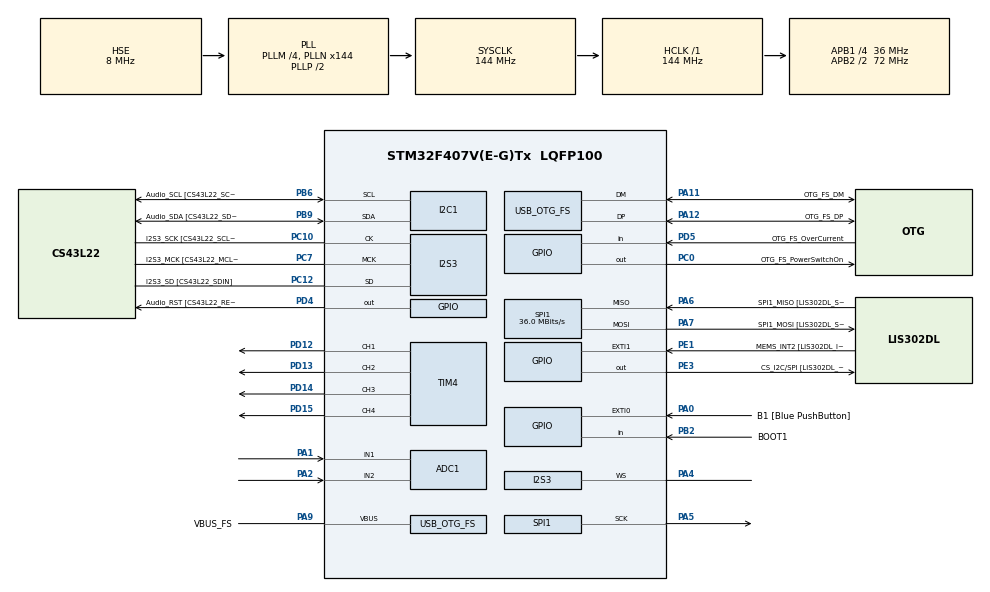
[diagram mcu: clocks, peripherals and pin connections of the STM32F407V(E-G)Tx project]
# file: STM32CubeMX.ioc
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ADC1.Channel-0\#ChannelRegularConversion=ADC_CHANNEL_1
ADC1.Channel-1\#ChannelRegularConversion=ADC_CHANNEL_2
ADC1.ContinuousConvMode=DISABLE
ADC1.NbrOfConversion=2
ADC1.NbrOfConversionFlag=1
ADC1.Rank-0\#ChannelRegularConversion=1
ADC1.Rank-1\#ChannelRegularConversion=2
ADC1.SamplingTime-0\#ChannelRegularConversion=ADC_SAMPLETIME_144CYCLES
ADC1.SamplingTime-1\#ChannelRegularConversion=ADC_SAMPLETIME_84CYCLES
ADC1.ScanConvMode=ENABLE
ADC1.master=1
Dma.Request0=SPI3_TX
Dma.SPI3_TX.0.Direction=DMA_MEMORY_TO_PERIPH
Dma.SPI3_TX.0.FIFOMode=DMA_FIFOMODE_ENABLE
Dma.SPI3_TX.0.FIFOThreshold=DMA_FIFO_THRESHOLD_FULL
Dma.SPI3_TX.0.Instance=DMA1_Stream5
Dma.SPI3_TX.0.MemBurst=DMA_MBURST_SINGLE
Dma.SPI3_TX.0.MemDataAlignment=DMA_MDATAALIGN_HALFWORD
Dma.SPI3_TX.0.MemInc=DMA_MINC_ENABLE
Dma.SPI3_TX.0.Mode=DMA_CIRCULAR
Dma.SPI3_TX.0.PeriphBurst=DMA_PBURST_SINGLE
Dma.SPI3_TX.0.PeriphDataAlignment=DMA_PDATAALIGN_HALFWORD
Dma.SPI3_TX.0.PeriphInc=DMA_PINC_DISABLE
Dma.SPI3_TX.0.Priority=DMA_PRIORITY_LOW
I2S3.AudioFreq=I2S_AUDIOFREQ_48K
I2S3.ErrorAudioFreq=-0.01 %
I2S3.FullDuplexMode=I2S_FULLDUPLEXMODE_DISABLE
I2S3.Instance=SPI$Index
I2S3.RealAudioFreq=47.991 KHz
I2S3.Standard=I2S_STANDARD_PHILIPS
I2S3.VirtualMode=I2S_MODE_MASTER
Mcu.Family=STM32F4
Mcu.Name=STM32F407V(E-G)Tx
Mcu.Package=LQFP100
NVIC.DMA1_Stream5_IRQn=true\:0\:0\:false\:false\:true\:false\:true\:true
NVIC.OTG_FS_IRQn=true\:0\:0\:false\:false\:true\:true\:true\:true
NVIC.PriorityGroup=NVIC_PRIORITYGROUP_0
NVIC.SPI3_IRQn=true\:0\:0\:false\:false\:true\:true\:true\:true
PA0-WKUP.GPIO_Label=B1 [Blue PushButton]
PA0-WKUP.GPIO_ModeDefaultEXTI=GPIO_MODE_EVT_RISING
PA0-WKUP.GPIO_PuPd=GPIO_NOPULL
PA0-WKUP.Signal=GPXTI0
PA1.Signal=ADCx_IN1
PA10.GPIO_Label=OTG_FS_ID
PA10.GPIO_Mode=GPIO_MODE_AF_PP
PA10.GPIO_PuPd=GPIO_NOPULL
PA10.GPIO_Speed=GPIO_SPEED_FREQ_LOW
PA10.Signal=USB_OTG_FS_ID
PA11.GPIO_Label=OTG_FS_DM
PA11.GPIO_Mode=GPIO_MODE_AF_PP
PA11.GPIO_PuPd=GPIO_NOPULL
PA11.GPIO_Speed=GPIO_SPEED_FREQ_LOW
PA11.Mode=Device_Only
PA11.Signal=USB_OTG_FS_DM
PA12.GPIO_Label=OTG_FS_DP
PA12.GPIO_Mode=GPIO_MODE_AF_PP
PA12.GPIO_PuPd=GPIO_NOPULL
PA12.GPIO_Speed=GPIO_SPEED_FREQ_LOW
PA12.Mode=Device_Only
PA12.Signal=USB_OTG_FS_DP
PA13.GPIO_Label=SWDIO
PA13.Mode=Serial_Wire
PA13.Signal=SYS_JTMS-SWDIO
PA14.GPIO_Label=SWCLK
PA14.Mode=Serial_Wire
PA14.Signal=SYS_JTCK-SWCLK
PA2.Signal=ADCx_IN2
PA4.Mode=Half_Duplex_Master
PA4.Signal=I2S3_WS
PA5.Mode=Full_Duplex_Master
PA5.Signal=SPI1_SCK
PA6.GPIO_Label=SPI1_MISO [LIS302DL_SDO]
PA6.GPIO_Mode=GPIO_MODE_AF_PP
PA6.GPIO_PuPd=GPIO_NOPULL
PA6.GPIO_Speed=GPIO_SPEED_FREQ_LOW
PA6.Mode=Full_Duplex_Master
PA6.Signal=SPI1_MISO
PA7.GPIO_Label=SPI1_MOSI [LIS302DL_SDA/SDI/SDO]
PA7.GPIO_Mode=GPIO_MODE_AF_PP
PA7.GPIO_PuPd=GPIO_NOPULL
PA7.GPIO_Speed=GPIO_SPEED_FREQ_LOW
PA7.Mode=Full_Duplex_Master
PA7.Signal=SPI1_MOSI
PA9.GPIO_Label=VBUS_FS
PA9.GPIO_Mode=GPIO_MODE_INPUT
PA9.GPIO_PuPd=GPIO_NOPULL
PA9.Mode=Activate_VBUS
PA9.Signal=USB_OTG_FS_VBUS
PB10.GPIO_Label=CLK_IN [MP45DT02_CLK]
PB10.GPIO_Mode=GPIO_MODE_AF_PP
PB10.GPIO_PuPd=GPIO_NOPULL
PB10.GPIO_Speed=GPIO_SPEED_FREQ_LOW
PB10.Signal=I2S2_CK
PB2.GPIO_Label=BOOT1
PB2.GPIO_Mode=GPIO_MODE_INPUT
PB2.GPIO_PuPd=GPIO_NOPULL
PB2.Signal=GPIO_Input
PB3.GPIO_Label=SWO
PB3.Signal=SYS_JTDO-SWO
PB6.GPIO_Label=Audio_SCL [CS43L22_SCL]
PB6.GPIO_Mode=GPIO_MODE_AF_OD
PB6.GPIO_Pu=GPIO_PULLUP
PB6.GPIO_PuPd=GPIO_NOPULL
PB6.GPIO_Speed=GPIO_SPEED_FREQ_LOW
PB6.Mode=I2C
PB6.Signal=I2C1_SCL
PB9.GPIO_Label=Audio_SDA [CS43L22_SDA]
PB9.GPIO_Mode=GPIO_MODE_AF_OD
PB9.GPIO_Pu=GPIO_PULLUP
PB9.GPIO_PuPd=GPIO_NOPULL
PB9.GPIO_Speed=GPIO_SPEED_FREQ_LOW
PB9.Mode=I2C
PB9.Signal=I2C1_SDA
PC0.GPIO_Label=OTG_FS_PowerSwitchOn
PC0.GPIO_PuPd=GPIO_NOPULL
PC0.GPIO_Speed=GPIO_SPEED_FREQ_LOW
PC0.PinState=GPIO_PIN_SET
PC0.Signal=GPIO_Output
PC10.GPIO_Label=I2S3_SCK [CS43L22_SCLK]
PC10.GPIO_Mode=GPIO_MODE_AF_PP
PC10.GPIO_PuPd=GPIO_NOPULL
PC10.GPIO_Speed=GPIO_SPEED_FREQ_LOW
PC10.Mode=Half_Duplex_Master
PC10.Signal=I2S3_CK
PC12.GPIO_Label=I2S3_SD [CS43L22_SDIN]
PC12.GPIO_Mode=GPIO_MODE_AF_PP
PC12.GPIO_PuPd=GPIO_NOPULL
PC12.GPIO_Speed=GPIO_SPEED_FREQ_LOW
PC12.Mode=Half_Duplex_Master
PC12.Signal=I2S3_SD
PC14-OSC32_IN.GPIO_Label=PC14-OSC32_IN
PC14-OSC32_IN.Mode=LSE-External-Oscillator
PC14-OSC32_IN.Signal=RCC_OSC32_IN
PC15-OSC32_OUT.GPIO_Label=PC15-OSC32_OUT
PC15-OSC32_OUT.Mode=LSE-External-Oscillator
PC15-OSC32_OUT.Signal=RCC_OSC32_OUT
PC3.GPIO_Label=PDM_OUT [MP45DT02_DOUT]
PC3.GPIO_Mode=GPIO_MODE_AF_PP
PC3.GPIO_PuPd=GPIO_NOPULL
PC3.GPIO_Speed=GPIO_SPEED_FREQ_LOW
PC3.Signal=I2S2_SD
PC7.GPIO_Label=I2S3_MCK [CS43L22_MCLK]
PC7.GPIO_Mode=GPIO_MODE_AF_PP
PC7.GPIO_PuPd=GPIO_NOPULL
PC7.GPIO_Speed=GPIO_SPEED_FREQ_LOW
PC7.Mode=Master_Clock_Activated
PC7.Signal=I2S3_MCK
PD12.Signal=S_TIM4_CH1
PD13.Signal=S_TIM4_CH2
PD14.Signal=S_TIM4_CH3
PD15.Signal=S_TIM4_CH4
PD4.GPIO_Label=Audio_RST [CS43L22_RESET]
PD4.GPIO_PuPd=GPIO_NOPULL
PD4.GPIO_Speed=GPIO_SPEED_FREQ_LOW
PD4.Signal=GPIO_Output
PD5.GPIO_Label=OTG_FS_OverCurrent
PD5.GPIO_Mode=GPIO_MODE_INPUT
PD5.GPIO_PuPd=GPIO_NOPULL
PD5.Signal=GPIO_Input
PE1.GPIO_Label=MEMS_INT2 [LIS302DL_INT2]
PE1.GPIO_ModeDefaultEXTI=GPIO_MODE_EVT_RISING
PE1.GPIO_PuPd=GPIO_NOPULL
PE1.Signal=GPXTI1
PE3.GPIO_Label=CS_I2C/SPI [LIS302DL_CS_I2C/SPI]
PE3.GPIO_PuPd=GPIO_NOPULL
PE3.GPIO_Speed=GPIO_SPEED_FREQ_LOW
PE3.Signal=GPIO_Output
PH0-OSC_IN.GPIO_Label=PH0-OSC_IN
PH0-OSC_IN.Mode=HSE-External-Oscillator
PH0-OSC_IN.Signal=RCC_OSC_IN
PH1-OSC_OUT.GPIO_Label=PH1-OSC_OUT
PH1-OSC_OUT.Mode=HSE-External-Oscillator
PH1-OSC_OUT.Signal=RCC_OSC_OUT
ProjectManager.HeapSize=0x200
ProjectManager.StackSize=0x400
ProjectManager.TargetToolchain=MDK-ARM V5
RCC.48MHZClocksFreq_Value=48000000
RCC.AHBFreq_Value=144000000
RCC.APB1CLKDivider=RCC_HCLK_DIV4
RCC.APB1Freq_Value=36000000
RCC.APB1TimFreq_Value=72000000
RCC.APB2CLKDivider=RCC_HCLK_DIV2
RCC.APB2Freq_Value=72000000
RCC.APB2TimFreq_Value=144000000
RCC.CortexFreq_Value=144000000
RCC.HCLKFreq_Value=144000000
RCC.HSE_VALUE=8000000
RCC.HSI_VALUE=16000000
RCC.PLLI2SN=129
RCC.PLLI2SR=3
RCC.PLLM=4
RCC.PLLN=144
RCC.PLLQ=6
RCC.SYSCLKFreq_VALUE=144000000
RCC.SYSCLKSource=RCC_SYSCLKSOURCE_PLLCLK
RCC.VCOOutputFreq_Value=288000000
SH.ADCx_IN1.0=ADC1_IN1,IN1
SH.ADCx_IN2.0=ADC1_IN2,IN2
SH.S_TIM4_CH1.0=TIM4_CH1,PWM Generation1 CH1
SH.S_TIM4_CH2.0=TIM4_CH2,PWM Generation2 CH2
SH.S_TIM4_CH3.0=TIM4_CH3,PWM Generation3 CH3
SH.S_TIM4_CH4.0=TIM4_CH4,PWM Generation4 CH4
SPI1.CalculateBaudRate=36.0 MBits/s
SPI1.Direction=SPI_DIRECTION_2LINES
SPI1.Mode=SPI_MODE_MASTER
SPI1.VirtualType=VM_MASTER
TIM4.Channel-PWM\ Generation1\ CH1=TIM_CHANNEL_1
TIM4.Channel-PWM\ Generation2\ CH2=TIM_CHANNEL_2
TIM4.Channel-PWM\ Generation3\ CH3=TIM_CHANNEL_3
TIM4.Channel-PWM\ Generation4\ CH4=TIM_CHANNEL_4
USB_DEVICE.CLASS_NAME_FS=CDC
USB_DEVICE.VirtualMode-CDC_FS=Cdc
USB_DEVICE.VirtualModeFS=Cdc_FS
USB_OTG_FS.VirtualMode=Device_Only
VP_USB_DEVICE_VS_USB_DEVICE_CDC_FS.Mode=CDC_FS
board=STM32F407G-DISC1

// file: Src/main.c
/* USER CODE BEGIN Header */
/**
 ******************************************************************************
 * @file           : main.c
 * @brief          : Main program body
 ******************************************************************************
 * @attention
 *
 * Copyright (c) 2025 STMicroelectronics.
 * All rights reserved.
 *
 * This software is licensed under terms that can be found in the LICENSE file
 * in the root directory of this software component.
 * If no LICENSE file comes with this software, it is provided AS-IS.
 *
 ******************************************************************************
 */
/* USER CODE END Header */
#include "main.h"
#include "stm32f4xx_hal.h"
#include "usb_device.h"

/* USER CODE BEGIN Includes */
#include "cs43l22.h"
#include "led_pwm.h"
/* USER CODE END Includes */

/* USER CODE BEGIN PD */
#define AUDIO_BUFFER_SIZE 4096
#define AUDIO_BUFFER_HALF_SIZE (AUDIO_BUFFER_SIZE / 2)
#define INCOMING_BUFFER_SIZE (AUDIO_BUFFER_SIZE * 2)
#define AUDIO_CHANNELS 2
#define BUFFER_TIMEOUT_MS 100

#define ENABLE_REVERB

#ifdef ENABLE_REVERB
#define REVERB_DRY_LEVEL 256
#define REVERB_WET_LEVEL 128
#define REVERB_DECAY 215
#define REVERB_DAMPING 51
#define REVERB_PREDELAY_MS 30
#define REVERB_DIFFUSION 128
#define REVERB_STEREO_SPREAD 23

#define MAX_COMB_SIZE 1600
#define MAX_AP_SIZE 600
#define MAX_PREDELAY 2400
#endif
/* USER CODE END PD */

ADC_HandleTypeDef hadc1;

I2C_HandleTypeDef hi2c1;

I2S_HandleTypeDef hi2s3;
DMA_HandleTypeDef hdma_spi3_tx;

SPI_HandleTypeDef hspi1;

TIM_HandleTypeDef htim4;

/* USER CODE BEGIN PV */
volatile int16_t buffer_audio[AUDIO_BUFFER_SIZE * AUDIO_CHANNELS]; // Single audio buffer
volatile uint32_t audio_buffer_w_ptr = 0; // Write pointer
volatile uint32_t last_data_time = 0; // Last time data was received
volatile int16_t incoming_buffer[INCOMING_BUFFER_SIZE * AUDIO_CHANNELS]; // Incoming data buffer
volatile uint32_t incoming_w_ptr = 0; // Incoming write pointer
volatile uint32_t incoming_r_ptr = 0; // Incoming read pointer
volatile int16_t last_L = 0; // Last left sample
volatile int16_t last_R = 0; // Last right sample
// volatile uint8_t is_paused = 0; // Pause state

#ifdef ENABLE_REVERB
// Buffers
int16_t comb_L[4][MAX_COMB_SIZE];
int16_t comb_R[4][MAX_COMB_SIZE];
int16_t ap_L[2][MAX_AP_SIZE];
int16_t ap_R[2][MAX_AP_SIZE];
int16_t predelay_buf_L[MAX_PREDELAY];
int16_t predelay_buf_R[MAX_PREDELAY];

// Indices
uint16_t comb_idx_L[4] = { 0 };
uint16_t comb_idx_R[4] = { 0 };
uint16_t ap_idx_L[2] = { 0 };
uint16_t ap_idx_R[2] = { 0 };
uint16_t pre_idx = 0;

// Filter States
int16_t comb_damp_L[4] = { 0 };
int16_t comb_damp_R[4] = { 0 };

// Tunings
const uint16_t comb_lens[4] = { 1116, 1188, 1277, 1356 };
const uint16_t ap_lens[2] = { 556, 441 };

volatile uint16_t reverb_dry_level = REVERB_DRY_LEVEL;
volatile uint16_t reverb_wet_level = REVERB_WET_LEVEL;
#endif
/* USER CODE END PV */

void SystemClock_Config(void);
static void MX_GPIO_Init(void);
static void MX_DMA_Init(void);
static void MX_I2C1_Init(void);
static void MX_I2S3_Init(void);
static void MX_SPI1_Init(void);
static void MX_ADC1_Init(void);
static void MX_TIM4_Init(void);
/* USER CODE BEGIN PFP */
void ApplyDSP(int16_t in_L, int16_t in_R, int16_t* out_L, int16_t* out_R);
void ProcessAudioChunk(int16_t* output_buffer, uint32_t count);
/* USER CODE END PFP */

int main(void)
{

    /* MCU Configuration--------------------------------------------------------*/

    /* Reset of all peripherals, Initializes the Flash interface and the Systick. */
    HAL_Init();

    /* Configure the system clock */
    SystemClock_Config();

    /* Initialize all configured peripherals */
    MX_GPIO_Init();
    MX_DMA_Init();
    MX_I2C1_Init();
    MX_I2S3_Init();
    MX_SPI1_Init();
    MX_USB_DEVICE_Init();
    MX_ADC1_Init();
    MX_TIM4_Init();
    /* USER CODE BEGIN 2 */
    LED_PWM_Init(&htim4);

#ifdef ENABLE_REVERB
    HAL_ADC_Init(&hadc1);
#endif

    cs43l22_init();

    memset((void*)buffer_audio, 0, sizeof(buffer_audio));
    memset((void*)incoming_buffer, 0, sizeof(incoming_buffer));
#ifdef ENABLE_REVERB
    memset((void*)comb_L, 0, sizeof(comb_L));
    memset((void*)comb_R, 0, sizeof(comb_R));
    memset((void*)ap_L, 0, sizeof(ap_L));
    memset((void*)ap_R, 0, sizeof(ap_R));
    memset((void*)predelay_buf_L, 0, sizeof(predelay_buf_L));
    memset((void*)predelay_buf_R, 0, sizeof(predelay_buf_R));
#endif

    cs43l22_play((void*)buffer_audio, AUDIO_BUFFER_SIZE * AUDIO_CHANNELS);

    /* USER CODE END 2 */

    /* Infinite loop */
    while (1) {

        /* USER CODE BEGIN 3 */
        // if (HAL_GPIO_ReadPin(B1_GPIO_Port, B1_Pin) == GPIO_PIN_SET) {
        //     HAL_Delay(50); // Debounce
        //     if (HAL_GPIO_ReadPin(B1_GPIO_Port, B1_Pin) == GPIO_PIN_SET) {
        //         is_paused = !is_paused;
        //         // Wait for release
        //         while (HAL_GPIO_ReadPin(B1_GPIO_Port, B1_Pin) == GPIO_PIN_SET) {
        //             HAL_Delay(10);
        //         }
        //     }
        // }
        // if (HAL_GetTick() - last_data_time > BUFFER_TIMEOUT_MS) {
        //     memset((void*)buffer_audio, 0, sizeof(buffer_audio));
        //     memset((void*)incoming_buffer, 0, sizeof(incoming_buffer));
        // }

#ifdef ENABLE_REVERB
        static uint32_t wet_accum = 0;
        static uint32_t dry_accum = 0;
        static uint8_t first_run = 1;

        HAL_ADC_Start(&hadc1);
        HAL_ADC_PollForConversion(&hadc1, 1);
        uint16_t wet_raw = HAL_ADC_GetValue(&hadc1);
        HAL_ADC_PollForConversion(&hadc1, 1);
        uint16_t dry_raw = HAL_ADC_GetValue(&hadc1);
        HAL_ADC_Stop(&hadc1);

        if (first_run) {
            wet_accum = wet_raw << 5;
            dry_accum = dry_raw << 5;
            first_run = 0;
        } else {
            wet_accum = wet_accum - (wet_accum >> 5) + wet_raw;
            dry_accum = dry_accum - (dry_accum >> 5) + dry_raw;
        }

        uint16_t wet_level = wet_accum >> 5;
        uint16_t dry_level = dry_accum >> 5;

        // Exponential volume scaling to fit human perception
        // 16769025 = 4095 ^ 2
        reverb_wet_level = ((uint32_t)wet_level * wet_level * 256) / 16769025;
        reverb_dry_level = ((uint32_t)dry_level * dry_level * 256) / 16769025;

        LED_PWM_SetBrightness(LED_ORANGE, ((uint32_t)wet_level * wet_level * 100) / 16769025);
        LED_PWM_SetBrightness(LED_BLUE, ((uint32_t)dry_level * dry_level * 100) / 16769025);

        HAL_Delay(1);
#endif
    }
    /* USER CODE END 3 */
}

void SystemClock_Config(void)
{
    RCC_OscInitTypeDef RCC_OscInitStruct = { 0 };
    RCC_ClkInitTypeDef RCC_ClkInitStruct = { 0 };

    /** Configure the main internal regulator output voltage
     */
    __HAL_RCC_PWR_CLK_ENABLE();
    __HAL_PWR_VOLTAGESCALING_CONFIG(PWR_REGULATOR_VOLTAGE_SCALE1);

    /** Initializes the RCC Oscillators according to the specified parameters
     * in the RCC_OscInitTypeDef structure.
     */
    RCC_OscInitStruct.OscillatorType = RCC_OSCILLATORTYPE_HSE;
    RCC_OscInitStruct.HSEState = RCC_HSE_ON;
    RCC_OscInitStruct.PLL.PLLState = RCC_PLL_ON;
    RCC_OscInitStruct.PLL.PLLSource = RCC_PLLSOURCE_HSE;
    RCC_OscInitStruct.PLL.PLLM = 4;
    RCC_OscInitStruct.PLL.PLLN = 144;
    RCC_OscInitStruct.PLL.PLLP = RCC_PLLP_DIV2;
    RCC_OscInitStruct.PLL.PLLQ = 6;
    if (HAL_RCC_OscConfig(&RCC_OscInitStruct) != HAL_OK) {
        Error_Handler();
    }

    /** Initializes the CPU, AHB and APB buses clocks
     */
    RCC_ClkInitStruct.ClockType = RCC_CLOCKTYPE_HCLK | RCC_CLOCKTYPE_SYSCLK
        | RCC_CLOCKTYPE_PCLK1 | RCC_CLOCKTYPE_PCLK2;
    RCC_ClkInitStruct.SYSCLKSource = RCC_SYSCLKSOURCE_PLLCLK;
    RCC_ClkInitStruct.AHBCLKDivider = RCC_SYSCLK_DIV1;
    RCC_ClkInitStruct.APB1CLKDivider = RCC_HCLK_DIV4;
    RCC_ClkInitStruct.APB2CLKDivider = RCC_HCLK_DIV2;

    if (HAL_RCC_ClockConfig(&RCC_ClkInitStruct, FLASH_LATENCY_4) != HAL_OK) {
        Error_Handler();
    }
}

static void MX_ADC1_Init(void)
{

    ADC_ChannelConfTypeDef sConfig = { 0 };

    /** Configure the global features of the ADC (Clock, Resolution, Data Alignment and number of conversion)
     */
    hadc1.Instance = ADC1;
    hadc1.Init.ClockPrescaler = ADC_CLOCK_SYNC_PCLK_DIV2;
    hadc1.Init.Resolution = ADC_RESOLUTION_12B;
    hadc1.Init.ScanConvMode = ENABLE;
    hadc1.Init.ContinuousConvMode = DISABLE;
    hadc1.Init.DiscontinuousConvMode = DISABLE;
    hadc1.Init.ExternalTrigConvEdge = ADC_EXTERNALTRIGCONVEDGE_NONE;
    hadc1.Init.ExternalTrigConv = ADC_SOFTWARE_START;
    hadc1.Init.DataAlign = ADC_DATAALIGN_RIGHT;
    hadc1.Init.NbrOfConversion = 2;
    hadc1.Init.DMAContinuousRequests = DISABLE;
    hadc1.Init.EOCSelection = ADC_EOC_SINGLE_CONV;
    if (HAL_ADC_Init(&hadc1) != HAL_OK) {
        Error_Handler();
    }

    /** Configure for the selected ADC regular channel its corresponding rank in the sequencer and its sample time.
     */
    sConfig.Channel = ADC_CHANNEL_1;
    sConfig.Rank = 1;
    sConfig.SamplingTime = ADC_SAMPLETIME_144CYCLES;
    if (HAL_ADC_ConfigChannel(&hadc1, &sConfig) != HAL_OK) {
        Error_Handler();
    }

    /** Configure for the selected ADC regular channel its corresponding rank in the sequencer and its sample time.
     */
    sConfig.Channel = ADC_CHANNEL_2;
    sConfig.Rank = 2;
    sConfig.SamplingTime = ADC_SAMPLETIME_84CYCLES;
    if (HAL_ADC_ConfigChannel(&hadc1, &sConfig) != HAL_OK) {
        Error_Handler();
    }
}

static void MX_I2C1_Init(void)
{

    hi2c1.Instance = I2C1;
    hi2c1.Init.ClockSpeed = 100000;
    hi2c1.Init.DutyCycle = I2C_DUTYCYCLE_2;
    hi2c1.Init.OwnAddress1 = 0;
    hi2c1.Init.AddressingMode = I2C_ADDRESSINGMODE_7BIT;
    hi2c1.Init.DualAddressMode = I2C_DUALADDRESS_DISABLE;
    hi2c1.Init.OwnAddress2 = 0;
    hi2c1.Init.GeneralCallMode = I2C_GENERALCALL_DISABLE;
    hi2c1.Init.NoStretchMode = I2C_NOSTRETCH_DISABLE;
    if (HAL_I2C_Init(&hi2c1) != HAL_OK) {
        Error_Handler();
    }
}

static void MX_I2S3_Init(void)
{

    hi2s3.Instance = SPI3;
    hi2s3.Init.Mode = I2S_MODE_MASTER_TX;
    hi2s3.Init.Standard = I2S_STANDARD_PHILIPS;
    hi2s3.Init.DataFormat = I2S_DATAFORMAT_16B;
    hi2s3.Init.MCLKOutput = I2S_MCLKOUTPUT_ENABLE;
    hi2s3.Init.AudioFreq = I2S_AUDIOFREQ_48K;
    hi2s3.Init.CPOL = I2S_CPOL_LOW;
    hi2s3.Init.ClockSource = I2S_CLOCK_PLL;
    hi2s3.Init.FullDuplexMode = I2S_FULLDUPLEXMODE_DISABLE;
    if (HAL_I2S_Init(&hi2s3) != HAL_OK) {
        Error_Handler();
    }
}

static void MX_SPI1_Init(void)
{

    /* SPI1 parameter configuration*/
    hspi1.Instance = SPI1;
    hspi1.Init.Mode = SPI_MODE_MASTER;
    hspi1.Init.Direction = SPI_DIRECTION_2LINES;
    hspi1.Init.DataSize = SPI_DATASIZE_8BIT;
    hspi1.Init.CLKPolarity = SPI_POLARITY_LOW;
    hspi1.Init.CLKPhase = SPI_PHASE_1EDGE;
    hspi1.Init.NSS = SPI_NSS_SOFT;
    hspi1.Init.BaudRatePrescaler = SPI_BAUDRATEPRESCALER_2;
    hspi1.Init.FirstBit = SPI_FIRSTBIT_MSB;
    hspi1.Init.TIMode = SPI_TIMODE_DISABLE;
    hspi1.Init.CRCCalculation = SPI_CRCCALCULATION_DISABLE;
    hspi1.Init.CRCPolynomial = 10;
    if (HAL_SPI_Init(&hspi1) != HAL_OK) {
        Error_Handler();
    }
}

static void MX_TIM4_Init(void)
{

    TIM_MasterConfigTypeDef sMasterConfig = { 0 };
    TIM_OC_InitTypeDef sConfigOC = { 0 };

    htim4.Instance = TIM4;
    htim4.Init.Prescaler = 0;
    htim4.Init.CounterMode = TIM_COUNTERMODE_UP;
    htim4.Init.Period = 65535;
    htim4.Init.ClockDivision = TIM_CLOCKDIVISION_DIV1;
    htim4.Init.AutoReloadPreload = TIM_AUTORELOAD_PRELOAD_DISABLE;
    if (HAL_TIM_PWM_Init(&htim4) != HAL_OK) {
        Error_Handler();
    }
    sMasterConfig.MasterOutputTrigger = TIM_TRGO_RESET;
    sMasterConfig.MasterSlaveMode = TIM_MASTERSLAVEMODE_DISABLE;
    if (HAL_TIMEx_MasterConfigSynchronization(&htim4, &sMasterConfig) != HAL_OK) {
        Error_Handler();
    }
    sConfigOC.OCMode = TIM_OCMODE_PWM1;
    sConfigOC.Pulse = 0;
    sConfigOC.OCPolarity = TIM_OCPOLARITY_HIGH;
    sConfigOC.OCFastMode = TIM_OCFAST_DISABLE;
    if (HAL_TIM_PWM_ConfigChannel(&htim4, &sConfigOC, TIM_CHANNEL_1) != HAL_OK) {
        Error_Handler();
    }
    if (HAL_TIM_PWM_ConfigChannel(&htim4, &sConfigOC, TIM_CHANNEL_2) != HAL_OK) {
        Error_Handler();
    }
    if (HAL_TIM_PWM_ConfigChannel(&htim4, &sConfigOC, TIM_CHANNEL_3) != HAL_OK) {
        Error_Handler();
    }
    if (HAL_TIM_PWM_ConfigChannel(&htim4, &sConfigOC, TIM_CHANNEL_4) != HAL_OK) {
        Error_Handler();
    }
    HAL_TIM_MspPostInit(&htim4);
}

static void MX_DMA_Init(void)
{

    /* DMA controller clock enable */
    __HAL_RCC_DMA1_CLK_ENABLE();

    /* DMA interrupt init */
    /* DMA1_Stream5_IRQn interrupt configuration */
    HAL_NVIC_SetPriority(DMA1_Stream5_IRQn, 0, 0);
    HAL_NVIC_EnableIRQ(DMA1_Stream5_IRQn);
}

static void MX_GPIO_Init(void)
{
    GPIO_InitTypeDef GPIO_InitStruct = { 0 };

    /* GPIO Ports Clock Enable */
    __HAL_RCC_GPIOE_CLK_ENABLE();
    __HAL_RCC_GPIOC_CLK_ENABLE();
    __HAL_RCC_GPIOH_CLK_ENABLE();
    __HAL_RCC_GPIOA_CLK_ENABLE();
    __HAL_RCC_GPIOB_CLK_ENABLE();
    __HAL_RCC_GPIOD_CLK_ENABLE();

    /*Configure GPIO pin Output Level */
    HAL_GPIO_WritePin(CS_I2C_SPI_GPIO_Port, CS_I2C_SPI_Pin, GPIO_PIN_RESET);

    /*Configure GPIO pin Output Level */
    HAL_GPIO_WritePin(OTG_FS_PowerSwitchOn_GPIO_Port, OTG_FS_PowerSwitchOn_Pin, GPIO_PIN_SET);

    /*Configure GPIO pin Output Level */
    HAL_GPIO_WritePin(Audio_RST_GPIO_Port, Audio_RST_Pin, GPIO_PIN_RESET);

    /*Configure GPIO pin : CS_I2C_SPI_Pin */
    GPIO_InitStruct.Pin = CS_I2C_SPI_Pin;
    GPIO_InitStruct.Mode = GPIO_MODE_OUTPUT_PP;
    GPIO_InitStruct.Pull = GPIO_NOPULL;
    GPIO_InitStruct.Speed = GPIO_SPEED_FREQ_LOW;
    HAL_GPIO_Init(CS_I2C_SPI_GPIO_Port, &GPIO_InitStruct);

    /*Configure GPIO pin : OTG_FS_PowerSwitchOn_Pin */
    GPIO_InitStruct.Pin = OTG_FS_PowerSwitchOn_Pin;
    GPIO_InitStruct.Mode = GPIO_MODE_OUTPUT_PP;
    GPIO_InitStruct.Pull = GPIO_NOPULL;
    GPIO_InitStruct.Speed = GPIO_SPEED_FREQ_LOW;
    HAL_GPIO_Init(OTG_FS_PowerSwitchOn_GPIO_Port, &GPIO_InitStruct);

    /*Configure GPIO pin : PDM_OUT_Pin */
    GPIO_InitStruct.Pin = PDM_OUT_Pin;
    GPIO_InitStruct.Mode = GPIO_MODE_AF_PP;
    GPIO_InitStruct.Pull = GPIO_NOPULL;
    GPIO_InitStruct.Speed = GPIO_SPEED_FREQ_LOW;
    GPIO_InitStruct.Alternate = GPIO_AF5_SPI2;
    HAL_GPIO_Init(PDM_OUT_GPIO_Port, &GPIO_InitStruct);

    /*Configure GPIO pin : B1_Pin */
    GPIO_InitStruct.Pin = B1_Pin;
    GPIO_InitStruct.Mode = GPIO_MODE_EVT_RISING;
    GPIO_InitStruct.Pull = GPIO_NOPULL;
    HAL_GPIO_Init(B1_GPIO_Port, &GPIO_InitStruct);

    /*Configure GPIO pin : BOOT1_Pin */
    GPIO_InitStruct.Pin = BOOT1_Pin;
    GPIO_InitStruct.Mode = GPIO_MODE_INPUT;
    GPIO_InitStruct.Pull = GPIO_NOPULL;
    HAL_GPIO_Init(BOOT1_GPIO_Port, &GPIO_InitStruct);

    /*Configure GPIO pin : CLK_IN_Pin */
    GPIO_InitStruct.Pin = CLK_IN_Pin;
    GPIO_InitStruct.Mode = GPIO_MODE_AF_PP;
    GPIO_InitStruct.Pull = GPIO_NOPULL;
    GPIO_InitStruct.Speed = GPIO_SPEED_FREQ_LOW;
    GPIO_InitStruct.Alternate = GPIO_AF5_SPI2;
    HAL_GPIO_Init(CLK_IN_GPIO_Port, &GPIO_InitStruct);

    /*Configure GPIO pin : Audio_RST_Pin */
    GPIO_InitStruct.Pin = Audio_RST_Pin;
    GPIO_InitStruct.Mode = GPIO_MODE_OUTPUT_PP;
    GPIO_InitStruct.Pull = GPIO_NOPULL;
    GPIO_InitStruct.Speed = GPIO_SPEED_FREQ_LOW;
    HAL_GPIO_Init(Audio_RST_GPIO_Port, &GPIO_InitStruct);

    /*Configure GPIO pin : OTG_FS_OverCurrent_Pin */
    GPIO_InitStruct.Pin = OTG_FS_OverCurrent_Pin;
    GPIO_InitStruct.Mode = GPIO_MODE_INPUT;
    GPIO_InitStruct.Pull = GPIO_NOPULL;
    HAL_GPIO_Init(OTG_FS_OverCurrent_GPIO_Port, &GPIO_InitStruct);

    /*Configure GPIO pin : MEMS_INT2_Pin */
    GPIO_InitStruct.Pin = MEMS_INT2_Pin;
    GPIO_InitStruct.Mode = GPIO_MODE_EVT_RISING;
    GPIO_InitStruct.Pull = GPIO_NOPULL;
    HAL_GPIO_Init(MEMS_INT2_GPIO_Port, &GPIO_InitStruct);

}

/* USER CODE BEGIN 4 */
#ifdef ENABLE_REVERB
int16_t CombProcess(int16_t input, int16_t* buffer, uint16_t* idx, uint16_t size, int16_t* damp_state)
{
    int16_t output = buffer[*idx];

    // Damping (Lowpass on feedback)
    *damp_state = ((int32_t)output * (256 - REVERB_DAMPING) + (int32_t)(*damp_state) * REVERB_DAMPING) >> 8;

    int32_t feedback = input + ((*damp_state * REVERB_DECAY) >> 8);

    // Clip
    if (feedback > 32767)
        feedback = 32767;
    if (feedback < -32768)
        feedback = -32768;

    buffer[*idx] = (int16_t)feedback;

    (*idx)++;
    if (*idx >= size)
        *idx = 0;

    return output;
}

int16_t AllpassProcess(int16_t input, int16_t* buffer, uint16_t* idx, uint16_t size)
{
    int16_t buf_out = buffer[*idx];

    int32_t feedback = input + ((buf_out * REVERB_DIFFUSION) >> 8);

    // Clip
    if (feedback > 32767)
        feedback = 32767;
    if (feedback < -32768)
        feedback = -32768;

    buffer[*idx] = (int16_t)feedback;

    int32_t output = buf_out - ((feedback * REVERB_DIFFUSION) >> 8);

    // Clip
    if (output > 32767)
        output = 32767;
    if (output < -32768)
        output = -32768;

    (*idx)++;
    if (*idx >= size)
        *idx = 0;

    return (int16_t)output;
}
#endif

void ApplyDSP(int16_t in_L, int16_t in_R, int16_t* out_L, int16_t* out_R)
{
#ifdef ENABLE_REVERB
    predelay_buf_L[pre_idx] = in_L;
    predelay_buf_R[pre_idx] = in_R;

    // Calculate read index for predelay
    uint16_t pre_read_idx = pre_idx; // 0ms
    uint16_t delay_samples = REVERB_PREDELAY_MS * 48; // 48 samples per ms
    if (delay_samples > MAX_PREDELAY)
        delay_samples = MAX_PREDELAY;

    if (pre_idx >= delay_samples)
        pre_read_idx = pre_idx - delay_samples;
    else
        pre_read_idx = MAX_PREDELAY - (delay_samples - pre_idx);

    int16_t dry_L = in_L;
    int16_t dry_R = in_R;

    int16_t wet_in_L = predelay_buf_L[pre_read_idx];
    int16_t wet_in_R = predelay_buf_R[pre_read_idx];

    pre_idx++;
    if (pre_idx >= MAX_PREDELAY)
        pre_idx = 0;

    int32_t accum_L = 0;
    int32_t accum_R = 0;

    for (int i = 0; i < 4; i++) {
        accum_L += CombProcess(wet_in_L, comb_L[i], &comb_idx_L[i], comb_lens[i], &comb_damp_L[i]);
        accum_R += CombProcess(wet_in_R, comb_R[i], &comb_idx_R[i], comb_lens[i] + REVERB_STEREO_SPREAD, &comb_damp_R[i]);
    }

    // Scale down accumulator to prevent massive clipping
    accum_L /= 4;
    accum_R /= 4;

    int16_t ap_out_L = (int16_t)accum_L;
    int16_t ap_out_R = (int16_t)accum_R;

    for (int i = 0; i < 2; i++) {
        ap_out_L = AllpassProcess(ap_out_L, ap_L[i], &ap_idx_L[i], ap_lens[i]);
        ap_out_R = AllpassProcess(ap_out_R, ap_R[i], &ap_idx_R[i], ap_lens[i] + REVERB_STEREO_SPREAD);
    }

    int32_t final_L = ((dry_L * reverb_dry_level) >> 8) + ((ap_out_L * reverb_wet_level) >> 8);
    int32_t final_R = ((dry_R * reverb_dry_level) >> 8) + ((ap_out_R * reverb_wet_level) >> 8);

    if (final_L > 32767)
        final_L = 32767;
    if (final_L < -32768)
        final_L = -32768;
    if (final_R > 32767)
        final_R = 32767;
    if (final_R < -32768)
        final_R = -32768;

    *out_L = (int16_t)final_L;
    *out_R = (int16_t)final_R;
#else
    *out_L = in_L;
    *out_R = in_R;
#endif
}

static inline uint32_t rb_used(uint32_t w, uint32_t r, uint32_t n)
{
    return (w >= r) ? (w - r) : (n - (r - w));
}
static inline uint32_t rb_free(uint32_t w, uint32_t r, uint32_t n)
{
    return (n - 1U) - rb_used(w, r, n);
}

void CDC_On_Receive(uint8_t* Buf, uint32_t* Len)
{
    LED_PWM_SetBrightness(LED_GREEN, 100);

    uint32_t bytes = *Len & ~3U; // multiple of 4
    if (bytes < 4)
        return;

    uint32_t frames = bytes / 4U;
    if (frames == 0)
        return;

    // Snapshot pointers once
    uint32_t w = incoming_w_ptr;
    uint32_t r = incoming_r_ptr;

    uint32_t free_frames = rb_free(w, r, INCOMING_BUFFER_SIZE);
    if (frames > free_frames) {
        frames = free_frames; // drop overflow
        bytes = frames * 4U;
        if (bytes == 0)
            return;
    }

    last_data_time = HAL_GetTick();

    // Raw byte ring over incoming_buffer (int16_t interleaved stereo)
    uint8_t* dst = (uint8_t*)incoming_buffer;
    const uint32_t cap_bytes = INCOMING_BUFFER_SIZE * 4U; // 4 bytes per frame
    uint32_t w_byte = w * 4U;

    uint32_t first = cap_bytes - w_byte;
    if (first > bytes)
        first = bytes;

    memcpy(dst + w_byte, Buf, first);
    if (bytes > first) {
        memcpy(dst, Buf + first, bytes - first);
    }

    // Ensure data is visible before publishing w_ptr
    __DMB();

    incoming_w_ptr = (w + frames) % INCOMING_BUFFER_SIZE;

    LED_PWM_SetBrightness(LED_GREEN, 0);
}

void ProcessAudioChunk(int16_t* output_buffer, uint32_t count)
{
    // if (is_paused) {
    //     memset((void*)output_buffer, 0, count * AUDIO_CHANNELS * sizeof(int16_t));
    //     return;
    // }

    for (uint32_t i = 0; i < count; i++) {
        int16_t in_L, in_R;
        if (incoming_r_ptr != incoming_w_ptr) {
            // Data available
            in_L = incoming_buffer[incoming_r_ptr * AUDIO_CHANNELS];
            in_R = incoming_buffer[incoming_r_ptr * AUDIO_CHANNELS + 1];
            incoming_r_ptr = (incoming_r_ptr + 1) % INCOMING_BUFFER_SIZE;
        } else {
            // No data, feed silence
            in_L = 0;
            in_R = 0;
        }

        int16_t out_L, out_R;
        ApplyDSP(in_L, in_R, &out_L, &out_R);

        last_L = out_L;
        last_R = out_R;

        output_buffer[i * AUDIO_CHANNELS] = out_L;
        output_buffer[i * AUDIO_CHANNELS + 1] = out_R;
    }
}

void AUDIO_I2S_TxHalfCpltCallback(void)
{
    ProcessAudioChunk((int16_t*)&buffer_audio[0], AUDIO_BUFFER_HALF_SIZE);
}

void AUDIO_I2S_TxCpltCallback(void)
{
    ProcessAudioChunk((int16_t*)&buffer_audio[AUDIO_BUFFER_HALF_SIZE * AUDIO_CHANNELS], AUDIO_BUFFER_HALF_SIZE);
}
/* USER CODE END 4 */

void Error_Handler(void)
{
    /* USER CODE BEGIN Error_Handler_Debug */
    /* User can add his own implementation to report the HAL error return state */
    __disable_irq();
    while (1) {
        HAL_GPIO_WritePin(GPIOD, GPIO_PIN_14, GPIO_PIN_SET);
        HAL_Delay(1000);
        HAL_GPIO_WritePin(GPIOD, GPIO_PIN_14, GPIO_PIN_RESET);
        HAL_Delay(1000);
    }
    /* USER CODE END Error_Handler_Debug */
}
#ifdef USE_FULL_ASSERT
/**
 * @brief  Reports the name of the source file and the source line number
 *         where the assert_param error has occurred.
 * @param  file: pointer to the source file name
 * @param  line: assert_param error line source number
 * @retval None
 */
void assert_failed(uint8_t* file, uint32_t line)
{
    /* USER CODE BEGIN 6 */
    /* User can add his own implementation to report the file name and line
       number, ex: printf("Wrong parameters value: file %s on line %d\r\n", file,
       line) */
    /* USER CODE END 6 */
}
#endif /* USE_FULL_ASSERT */
